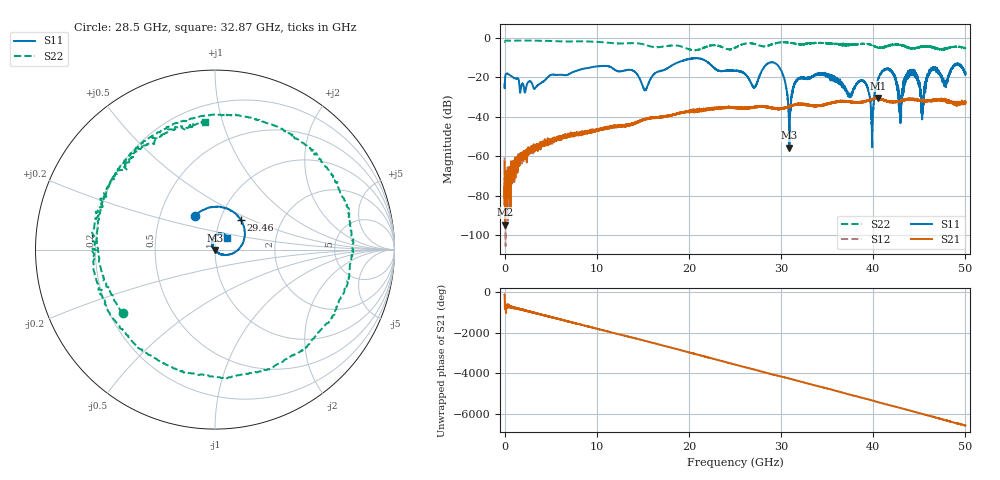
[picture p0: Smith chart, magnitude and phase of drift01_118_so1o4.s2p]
!Created with skrf (http://scikit-rf.org).
# Hz S RI R 50.0
!freq ReS11 ImS11 ReS21 ImS21 ReS12 ImS12 ReS22 ImS22
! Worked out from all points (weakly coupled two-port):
!   10001 points, 300 kHz to 50 GHz, reference 50 ohm
!   highest |S21| = -30.52 dB at 40.53 GHz (marker M1); lowest = -94.7 dB at 75.3 MHz (marker M2)
!   lowest |S11| = -55.8 dB at 30.9 GHz (marker M3), VSWR 1.00, Z = 50 - j0.156 ohm
!   |S11| at or under -10 dB: start of sweep to end of sweep
!   |S22| runs from -6.4 to -1.4 dB; largest |S21 - S12| = 0.0046
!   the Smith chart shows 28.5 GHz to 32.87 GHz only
!   S11 on the Smith chart (normalised r, x): 28.5 GHz: 0.75, +0.29; 29.46 GHz: 1.26, +0.43; 32.87 GHz: 1.13, +0.15
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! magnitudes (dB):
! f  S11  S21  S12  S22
! 300 kHz  -23.5  -62.7  -60.5  -2.0
! 75.3 MHz  -19.4  -94.7  -87.8  -1.5
! 8.335 GHz  -15.9  -48.5  -47.7  -1.8
! 15.23 GHz  -26.7  -41.2  -41.3  -3.5
! 16.67 GHz  -17.1  -40.6  -40.5  -4.8
! 25 GHz  -16.7  -35.3  -35.2  -5.0
! 27.1 GHz  -25.2  -35.1  -35.2  -3.1
! 28.5 GHz  -13.2  -35.0  -35.0  -4.1
! 29.46 GHz  -13.2  -35.7  -36.0  -2.7
! 30.9 GHz  -55.8  -34.8  -34.6  -2.5
! 31.61 GHz  -22.3  -33.8  -33.7  -3.1
! 32.87 GHz  -20.6  -34.0  -34.0  -2.9
! 33.34 GHz  -19.5  -34.4  -34.1  -2.6
! 38.91 GHz  -21.9  -32.3  -32.5  -3.0
! 39.86 GHz  -50.0  -31.3  -31.1  -3.6
! 40.53 GHz  -20.9  -30.5  -30.9  -5.1
! 41.67 GHz  -15.9  -32.2  -32.3  -4.1
! 42.97 GHz  -37.5  -31.9  -31.9  -3.7
! 43.96 GHz  -17.1  -31.2  -31.3  -5.2
! 45.32 GHz  -34.0  -32.0  -31.7  -4.5
! 46.42 GHz  -15.5  -31.8  -31.8  -4.7
! 50 GHz  -17.5  -32.2  -33.2  -5.3
